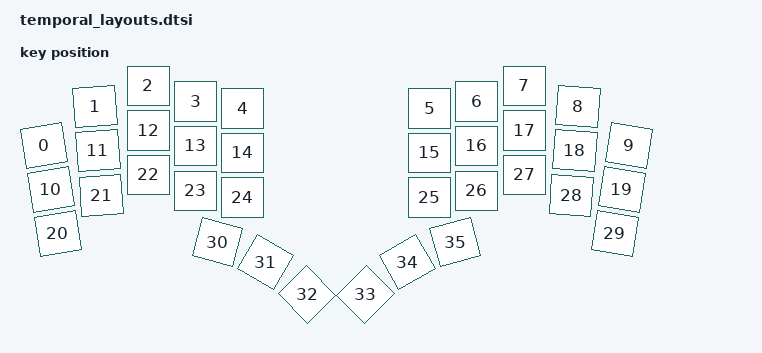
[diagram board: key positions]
#include <physical_layouts.dtsi>

/ {
    temporal36_layout: temporal36_layout {
        compatible = "zmk,physical-layout";
        display-name = "Temporal 36";

        // Switch centers and angles from curbol/temporal's generated temporal PCB.
        // Dimensions use the PCB's 17.5 x 16.5 mm keycaps, in 19.05 mm units.
        // The right half is mirrored; the distance between halves is illustrative.
        keys
            // Top: left pinky to inner, right inner to pinky
            = <&key_physical_attrs 92 87    4 125  (-900)   50 169>
            , <&key_physical_attrs 92 87  106  47  (-400)  152  91>
            , <&key_physical_attrs 92 87  213   6       0  259  50>
            , <&key_physical_attrs 92 87  308  37       0  354  81>
            , <&key_physical_attrs 92 87  402  51       0  448  95>
            , <&key_physical_attrs 92 87  776  51       0  822  95>
            , <&key_physical_attrs 92 87  870  37       0  916  81>
            , <&key_physical_attrs 92 87  965   6       0 1011  50>
            , <&key_physical_attrs 92 87 1072  47     400 1118  91>
            , <&key_physical_attrs 92 87 1174 125     900 1220 169>

            // Home
            , <&key_physical_attrs 92 87   18 213  (-900)   64 257>
            , <&key_physical_attrs 92 87  112 136  (-400)  158 180>
            , <&key_physical_attrs 92 87  213  95       0  259 139>
            , <&key_physical_attrs 92 87  308 126       0  354 170>
            , <&key_physical_attrs 92 87  402 140       0  448 184>
            , <&key_physical_attrs 92 87  776 140       0  822 184>
            , <&key_physical_attrs 92 87  870 126       0  916 170>
            , <&key_physical_attrs 92 87  965  95       0 1011 139>
            , <&key_physical_attrs 92 87 1066 136     400 1112 180>
            , <&key_physical_attrs 92 87 1160 213     900 1206 257>

            // Bottom
            , <&key_physical_attrs 92 87   32 302  (-900)   78 346>
            , <&key_physical_attrs 92 87  119 225  (-400)  165 269>
            , <&key_physical_attrs 92 87  213 184       0  259 228>
            , <&key_physical_attrs 92 87  308 216       0  354 260>
            , <&key_physical_attrs 92 87  402 229       0  448 273>
            , <&key_physical_attrs 92 87  776 229       0  822 273>
            , <&key_physical_attrs 92 87  870 216       0  916 260>
            , <&key_physical_attrs 92 87  965 184       0 1011 228>
            , <&key_physical_attrs 92 87 1059 225     400 1105 269>
            , <&key_physical_attrs 92 87 1146 302     900 1192 346>

            // Thumbs: left near/mid/far, right far/mid/near; encoders omitted
            , <&key_physical_attrs 92 87  351 319    1500  397 363>
            , <&key_physical_attrs 92 87  447 359    3000  493 403>
            , <&key_physical_attrs 92 87  530 423    4500  576 467>
            , <&key_physical_attrs 92 87  648 423 (-4500)  694 467>
            , <&key_physical_attrs 92 87  731 359 (-3000)  777 403>
            , <&key_physical_attrs 92 87  827 319 (-1500)  873 363>
            ;
    };
};
